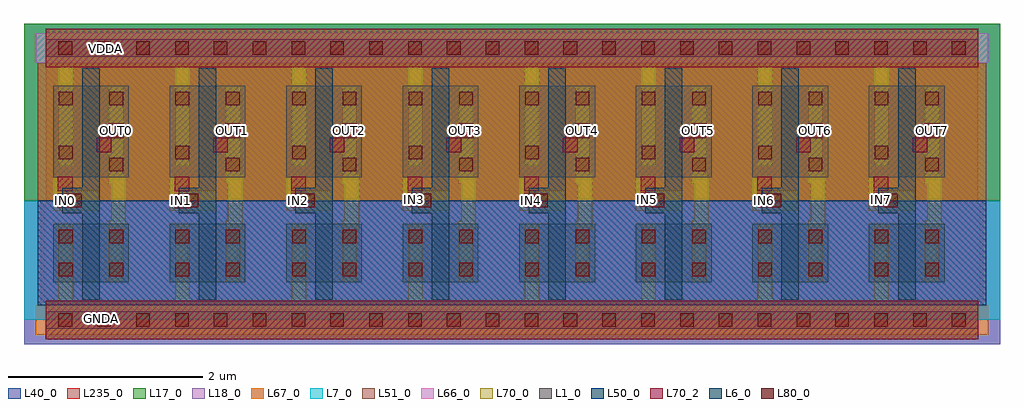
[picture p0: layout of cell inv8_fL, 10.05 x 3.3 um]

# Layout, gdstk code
import gdstk
lib = gdstk.Library(unit=1e-6, precision=1e-09)
def R(c, l, rs):  # rectangles x0, y0, x1, y1
    for r in rs: c.add(gdstk.rectangle(r[:2], r[2:], *l))
def A(c, l, x, y, w, h, nx, ny, dx, dy):  # array of equal rectangles
    R(c, l, [(x+i*dx, y+j*dy, x+i*dx+w, y+j*dy+h) for i in range(nx) for j in range(ny)])
def P(c, l, *ps):  # polygons
    for p in ps: c.add(gdstk.Polygon(p, *l))
L1_0 = (1, 0)
L6_0 = (6, 0)
L7_0 = (7, 0)
L17_0 = (17, 0)
L18_0 = (18, 0)
L40_0 = (40, 0)
L50_0 = (50, 0)
L51_0 = (51, 0)
L66_0 = (66, 0)
L67_0 = (67, 0)
L70_0 = (70, 0)
L70_2 = (70, 2)
L80_0 = (80, 0)
L235_0 = (235, 0)

in2 = lib.new_cell('IN2')
R(in2, L1_0, [(0,-0.09,1.2,0.09), (0.075,0.39,0.855,0.99), (0.075,1.47,0.855,2.41), (0,2.71,1.2,2.89)])
P(in2, L6_0, [(0.555,2.59),(0.375,2.59),(0.375,1.36),(0.17,1.36),(0.17,1.1),(0.375,1.1),(0.375,0.21),(0.555,0.21)])
R(in2, L7_0, [(-0.225,0,1.425,1.23)])
R(in2, L17_0, [(-0.225,1.23,1.425,3.05)])
R(in2, L18_0, [(-0.225,-0.25,1.425,1.23)])
R(in2, L40_0, [(-0.225,-0.25,1.425,1.23), (-0.225,1.23,1.425,3.05)])
R(in2, L50_0, [(-0.085,0.15,1.285,1.23)])
R(in2, L51_0, [(-0.085,1.23,1.285,2.65)])
R(in2, L66_0, [(-0.085,0.15,1.285,1.23), (-0.105,2.65,1.305,2.95)])
R(in2, L67_0, [(-0.105,-0.15,1.305,0.15), (-0.085,1.23,1.285,2.65)])
R(in2, L70_0, [(0.075,1.125,0.555,1.335), (0.075,1.335,0.275,1.475), (0.525,1.725,0.65,1.875)])
P(in2, L70_0, [(1.2,0.2),(0.28,0.2),(0.28,0.99),(0.13,0.99),(0.13,0.2),(0,0.2),(0,-0.2),(1.2,-0.2)],
  [(0.825,1.495),(0.8,1.495),(0.8,2.41),(0.65,2.41),(0.65,1.41),(0.675,1.41),(0.675,1.02),(0.65,1.02),(0.65,0.39),(0.8,0.39),(0.8,0.935),(0.825,0.935)],
  [(1.2,3),(0,3),(0,2.6),(0.13,2.6),(0.13,1.595),(0.28,1.595),(0.28,2.6),(1.2,2.6)])
R(in2, L70_2, [(0,-0.2,1.2,0.2), (0.125,1.325,0.275,1.475), (0.525,1.725,0.675,1.875), (0,2.6,1.2,3)])
A(in2, L80_0, 0.13, -0.07, 0.14, 0.14, 3, 2, 0.4, 2.8)
A(in2, L80_0, 0.655, 1.53, 0.14, 0.14, 1, 3, 0, 0.34)
R(in2, L80_0, [(0.135,0.45,0.275,0.59), (0.655,0.45,0.795,0.59), (0.135,0.79,0.275,0.93), (0.655,0.79,0.795,0.93), (0.23,1.16,0.37,1.3), (0.135,1.655,0.275,1.795), (0.135,2.21,0.275,2.35)])
R(in2, L235_0, [(0,0,1.2,2.8)])
in2.add(gdstk.Label('VDD', (0.6,3), layer=70, texttype=2))
in2.add(gdstk.Label('VSS', (0.6,-0.2), layer=70, texttype=2))
in2.add(gdstk.Label('A', (0.2,1.4), layer=70, texttype=2))
in2.add(gdstk.Label('Out', (0.6,1.8), layer=70, texttype=2))

inv8_fl = lib.new_cell('inv8_fL')
A(inv8_fl, L70_2, 2.805, 1.495, 0.15, 0.15, 3, 1, 2.4, 0)
A(inv8_fl, L70_2, 4.005, 1.5, 0.15, 0.15, 3, 1, 2.4, 0)
A(inv8_fl, L70_2, 0.93, 2.21, 0.15, 0.15, 8, 1, 1.2, 0)
R(inv8_fl, L70_2, [(0.78,0.27,0.93,0.42), (1.605,1.485,1.755,1.635), (0.405,1.49,0.555,1.64), (0.82,3.055,0.97,3.205)])
inv8_fl.add(gdstk.Reference(in2, (5.08,0.335)))
inv8_fl.add(gdstk.Reference(in2, (7.48,0.335)))
inv8_fl.add(gdstk.Reference(in2, (8.68,0.335)))
inv8_fl.add(gdstk.Reference(in2, (6.28,0.335)))
inv8_fl.add(gdstk.Reference(in2, (2.68,0.335)))
inv8_fl.add(gdstk.Reference(in2, (3.88,0.335)))
inv8_fl.add(gdstk.Reference(in2, (1.48,0.335)))
inv8_fl.add(gdstk.Reference(in2, (0.28,0.335)))
inv8_fl.add(gdstk.Label('GNDA', (0.855,0.345), layer=70, texttype=2))
inv8_fl.add(gdstk.Label('VDDA', (0.895,3.13), layer=70, texttype=2))
inv8_fl.add(gdstk.Label('OUT7', (9.405,2.285), layer=70, texttype=2))
inv8_fl.add(gdstk.Label('OUT6', (8.205,2.285), layer=70, texttype=2))
inv8_fl.add(gdstk.Label('OUT5', (7.005,2.285), layer=70, texttype=2))
inv8_fl.add(gdstk.Label('OUT4', (5.805,2.285), layer=70, texttype=2))
inv8_fl.add(gdstk.Label('OUT3', (4.605,2.285), layer=70, texttype=2))
inv8_fl.add(gdstk.Label('OUT2', (3.405,2.285), layer=70, texttype=2))
inv8_fl.add(gdstk.Label('OUT1', (2.205,2.285), layer=70, texttype=2))
inv8_fl.add(gdstk.Label('OUT0', (1.005,2.285), layer=70, texttype=2))
inv8_fl.add(gdstk.Label('IN7', (8.88,1.575), layer=70, texttype=2))
inv8_fl.add(gdstk.Label('IN6', (7.68,1.57), layer=70, texttype=2))
inv8_fl.add(gdstk.Label('IN5', (6.48,1.575), layer=70, texttype=2))
inv8_fl.add(gdstk.Label('IN4', (5.28,1.57), layer=70, texttype=2))
inv8_fl.add(gdstk.Label('IN3', (4.08,1.575), layer=70, texttype=2))
inv8_fl.add(gdstk.Label('IN2', (2.88,1.57), layer=70, texttype=2))
inv8_fl.add(gdstk.Label('IN1', (1.68,1.56), layer=70, texttype=2))
inv8_fl.add(gdstk.Label('IN0', (0.48,1.565), layer=70, texttype=2))

lib.write_gds('inv8_fL.gds')
